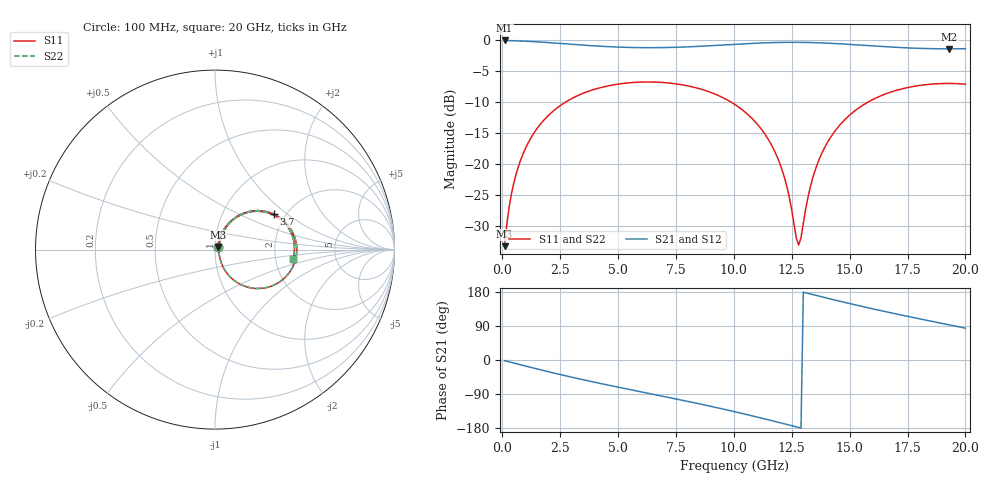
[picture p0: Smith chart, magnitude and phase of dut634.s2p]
! Touchstone file exported from HFSS 2026.1.0
!  File:  C:/ffzhzh/LocalFiles/Ansys_Project_Files/temp_train_TSV_RDL_634_1783126378_35180.aedt
!  Generated:  09:06:22 AM Jul  4, 2026
!  Design:  TSV_RDL
!  Project:  temp_train_TSV_RDL_634_1783126378_35180
! Variables:
!  h_bsmrdl = 4.62um
!  h_ox = 20um
!  h_rdl = 5um
!  h_sub = 51.38um
!  h_tmrdl = 5.46um
!  h_tsv = 51.38um
!  h_via = 3um
!  l_bsmrdl = 360.18um
!  l_sub = 5041.27um
!  l_tmrdl = 859.02um
!  m_sub = 200um
!  pitch = 41.74um
!  r_tsv = 8.88um
!  s_tmrdl = 10um
!  w_bsmrdl = 19.9um
!  w_sub = 500um
!  w_tmrdl = 21.65um
!  x_tsv_center1 = 869.845um
!  x_tsv_center2 = 1249.925um
!  x_tsv_center3 = 2130.595um
!  x_tsv_center4 = 2510.675um
!  x_tsv_center5 = 3391.345um
!  x_tsv_center6 = 3771.425um
# GHz S MA R 50.000000
! Terminal data exported
! Port[1] = TM_RDL1_1_T1
! Port[2] = TM_RDL5_1_T1
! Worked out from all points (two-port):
!   200 points, 100 MHz to 20 GHz, reference 50 ohm
!   highest |S21| = -0.14 dB at 100 MHz (marker M1); lowest = -1.5 dB at 19.3 GHz (marker M2)
!   |S21| within 3 dB of the highest: start of sweep to end of sweep
!   lowest |S11| = -33.3 dB at 100 MHz (marker M3), VSWR 1.04, Z = 51.6 + j1.47 ohm
!   |S11| at or under -10 dB: start of sweep to 2.766 GHz; 9.845 GHz to 15.83 GHz (5.984 GHz wide, 46.6 % of centre)
!   |S22| runs from -33.3 to -6.8 dB; largest |S21 - S12| = 1.8e-14
!   S11 on the Smith chart (normalised r, x): 100 MHz: 1.03, +0.03; 3.7 GHz: 1.73, +0.80; 20 GHz: 2.51, -0.32
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0.1  0.02163 41.3  0.9841 -1.7  0.9841 -1.7  0.02163 41.3
! Gamma 0 0 0 0
! Port Impedance 50 0 50 0
0.3  0.0453 62.2  0.9815 -4.9  0.9815 -4.9  0.0453 62.2
0.5  0.07023 66.6  0.9792 -8.1  0.9792 -8.1  0.07023 66.6
1.1  0.1449 64.4  0.9692 -17.5  0.9692 -17.5  0.1449 64.4
2.1  0.2557 52.2  0.9434 -32.6  0.9434 -32.6  0.2557 52.2
3.5  0.3698 33.8  0.9022 -52.2  0.9022 -52.2  0.3698 33.8
3.7  0.382 31.3  0.8969 -54.9  0.8969 -54.9  0.382 31.3
5.3  0.4451 11.7  0.8665 -75.4  0.8665 -75.4  0.4451 11.7
6.8  0.4528 -6.1  0.8615 -93.9  0.8615 -93.9  0.4528 -6.1
8.6  0.3978 -27.7  0.8843 -116.8  0.8843 -116.8  0.3978 -27.7
10.1  0.2952 -46.5  0.9174 -137.3  0.9174 -137.3  0.2952 -46.4
11.1  0.199 -58.6  0.9378 -152.0  0.9378 -152.0  0.199 -58.5
11.8  0.1216 -64.7  0.9474 -162.5  0.9474 -162.5  0.1216 -64.6
12.3  0.06419 -62.5  0.9507 -170.2  0.9507 -170.2  0.06423 -62.4
12.7  0.02506 -26.9  0.9509 -176.4  0.9509 -176.4  0.0252 -26.6
12.8  0.02208 0.6  0.9506 -177.9  0.9506 -177.9  0.02226 0.7
13.4  0.07581 64.0  0.946 172.8  0.946 172.8  0.07589 63.8
13.9  0.1324 63.9  0.9387 165.2  0.9387 165.2  0.1325 63.9
14.6  0.2072 57.3  0.9245 154.8  0.9245 154.8  0.2073 57.3
16.7  0.3732 31.9  0.8728 125.6  0.8728 125.6  0.3733 31.9
19.3  0.4431 1.3  0.8419 92.8  0.8419 92.8  0.4431 1.3
20  0.4373 -6.8  0.8443 84.1  0.8443 84.1  0.4374 -6.8
